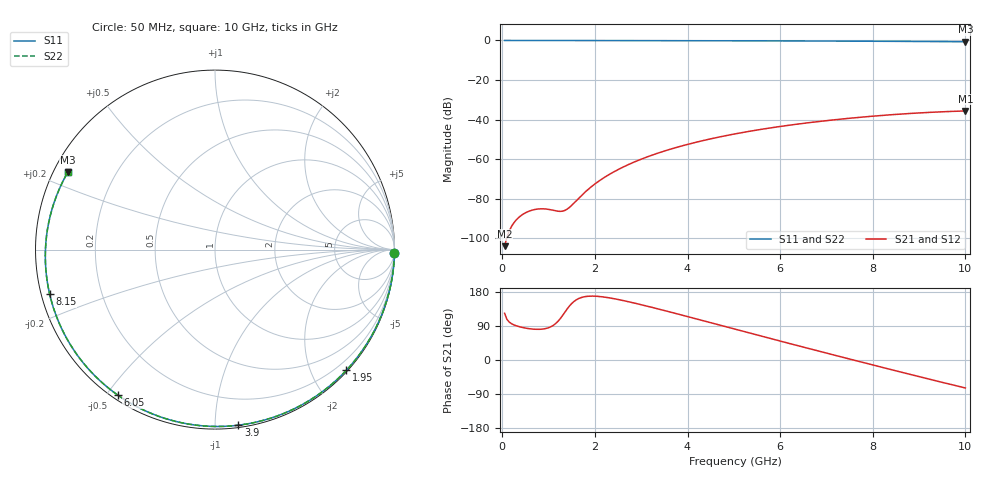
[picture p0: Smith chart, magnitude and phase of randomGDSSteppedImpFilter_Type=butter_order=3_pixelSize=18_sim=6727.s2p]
! freq	dB(S11)	phase(S11)	dB(S12)	phase(S12)
!  dB(S21)	phase(S21)	dB(S22)	phase(S22)
!S-par simulation data
#  GHz  S  DB  R 50
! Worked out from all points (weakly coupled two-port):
!   200 points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, 50 MHz to 10 GHz, reference 50 ohm
!   highest |S21| = -35.63 dB at 10 GHz (marker M1); lowest = -104.0 dB at 50 MHz (marker M2)
!   lowest |S11| = -0.7 dB at 10 GHz (marker M3), VSWR 26.26, Z = 2.02 + j12.3 ohm
!   |S11| at or under -10 dB: nowhere
!   |S22| runs from -0.7 to 0.0 dB; largest |S21 - S12| = 0
!   S11 on the Smith chart (normalised r, x): 50 MHz: open; 1.95 GHz: 0.02, -2.57; 3.9 GHz: 0.02, -1.14; 6.05 GHz: 0.02, -0.53; 8.15 GHz: 0.02, -0.13; 10 GHz: 0.04, +0.25
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0.05  -0.00 -1.1  -103.99 123.3  -103.99 123.3  -0.00 -1.1
0.8  -0.02 -17.7  -85.15 81.0  -85.15 81.0  -0.02 -17.7
1.6  -0.04 -35.1  -80.96 158.9  -80.96 158.9  -0.04 -35.0
1.65  -0.05 -36.1  -79.76 162.2  -79.76 162.2  -0.05 -36.1
1.75  -0.05 -38.3  -77.48 166.3  -77.48 166.3  -0.05 -38.2
1.95  -0.05 -42.5  -73.44 168.6  -73.44 168.6  -0.05 -42.5
2.25  -0.06 -48.8  -68.57 165.2  -68.57 165.2  -0.06 -48.8
2.55  -0.07 -55.1  -64.68 158.5  -64.68 158.5  -0.07 -55.1
2.95  -0.08 -63.4  -60.48 147.4  -60.48 147.4  -0.08 -63.3
3.4  -0.10 -72.5  -56.65 133.7  -56.65 133.7  -0.10 -72.4
3.9  -0.11 -82.5  -53.17 117.9  -53.17 117.9  -0.11 -82.4
4.45  -0.13 -93.2  -50.00 100.1  -50.00 100.1  -0.13 -93.2
5.05  -0.16 -104.8  -47.12 80.6  -47.12 80.6  -0.16 -104.7
6.05  -0.22 -123.8  -43.32 48.4  -43.32 48.4  -0.22 -123.8
6.7  -0.27 -136.3  -41.34 27.7  -41.34 27.7  -0.27 -136.2
7.45  -0.34 -150.9  -39.44 4.1  -39.44 4.1  -0.34 -150.8
8.15  -0.41 -165.1  -37.99 -17.7  -37.99 -17.7  -0.41 -165.0
8.35  -0.43 -169.3  -37.63 -23.9  -37.63 -23.9  -0.43 -169.2
8.8  -0.49 -179.0  -36.92 -37.8  -36.92 -37.8  -0.49 -178.9
9.2  -0.54 171.9  -36.39 -50.0  -36.39 -50.0  -0.54 172.0
9.6  -0.60 162.4  -35.96 -62.0  -35.96 -62.0  -0.60 162.5
10  -0.66 152.3  -35.63 -73.8  -35.63 -73.8  -0.66 152.4
